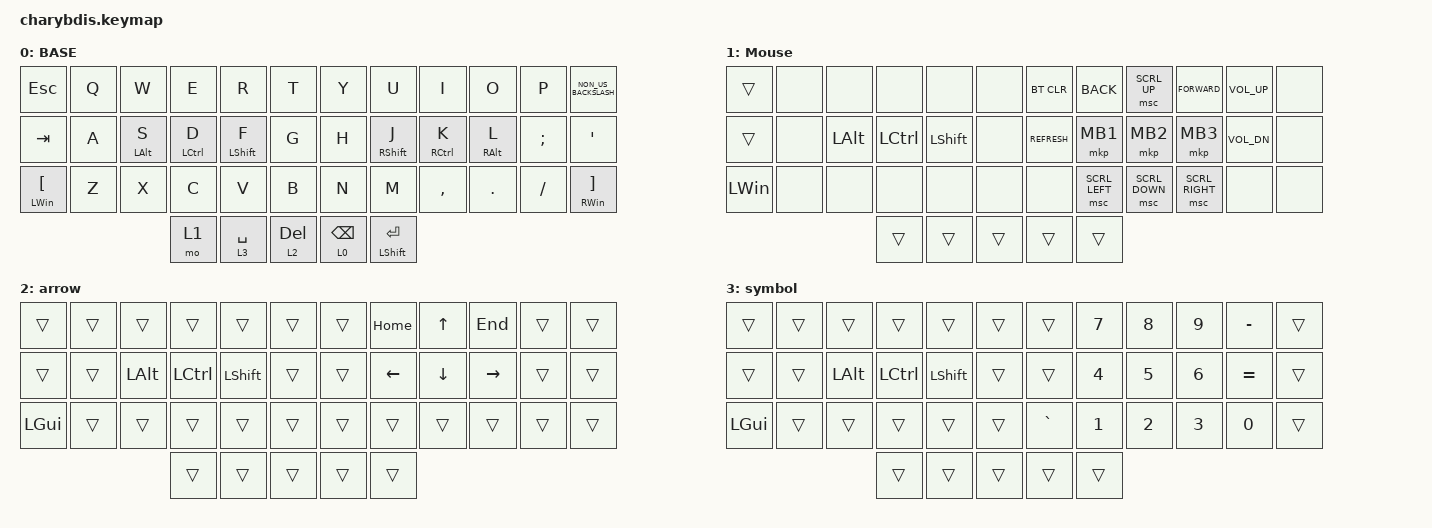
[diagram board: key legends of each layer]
#include <behaviors.dtsi>
#include <dt-bindings/zmk/keys.h>
#define ZMK_POINTING_DEFAULT_SCRL_VAL 15
#include <dt-bindings/zmk/pointing.h>
#include <dt-bindings/zmk/bt.h>
#include "macros.dtsi"
#include "behaviors.dtsi"
#include "combos.dtsi"

&msc {
    delay-ms = <0>;
    time-to-max-speed-ms = <0>;
    acceleration-exponent = <0>;
};

/ {
    // ╭──────┬──────┬──────┬──────┬──────┬──────╮  ╭──────┬──────┬──────┬──────┬──────┬──────╮
    //    00     01     02     03    04      05        06     07     08     09     10     11
    // ├──────┼──────┼──────┼──────┼──────┼──────┤  ├──────┼──────┼──────┼──────┼──────┼──────┤
    //    12     13     14     15    16      17        18     19     20     21     22     23
    // ├──────┼──────┼──────┼──────┼──────┼──────┤  ├──────┼──────┼──────┼──────┼──────┼──────┤
    //    24     25     26     27    28      29        30     31     32     33     34     35
    // ╰──────┴──────┴──────┼──────┼──────┼──────┤  ├──────┼──────┼──────┴──────┴──────┴──────╯
    //                         36     37     38        39     40
    //                      ╰──────┴──────┴──────╯  ╰──────┴──────╯

    keymap {
        compatible = "zmk,keymap";

        BASE {
            bindings = <
&kp ESCAPE                 &kp Q  &kp W           &kp E               &kp R             &kp T           &kp Y            &kp U                 &kp I                &kp O            &kp P          &kp NON_US_BACKSLASH
&kp TAB                    &kp A  &hm LEFT_ALT S  &hm LEFT_CONTROL D  &hm LEFT_SHIFT F  &kp G           &kp H            &hm RIGHT_SHIFT J     &hm RIGHT_CONTROL K  &hm RIGHT_ALT L  &kp SEMICOLON  &kp SQT
&hm LEFT_WIN LEFT_BRACKET  &kp Z  &kp X           &kp C               &kp V             &kp B           &kp N            &kp M                 &kp COMMA            &kp PERIOD       &kp SLASH      &hm RIGHT_WIN RIGHT_BRACKET
                                                  &mo 1               &lt 3 SPACE       &lt 2 DELETE    &lt 0 BACKSPACE  &mt LEFT_SHIFT ENTER
            >;
        };

        Mouse {
            bindings = <
&trans        &none  &none         &none             &none           &none     &bt BT_CLR     &kp K_BACK      &msc SCRL_UP    &kp K_FORWARD    &kp C_VOL_UP  &none
&trans        &none  &kp LEFT_ALT  &kp LEFT_CONTROL  &kp LEFT_SHIFT  &none     &kp K_REFRESH  &mkp MB1        &mkp MB2        &mkp MB3         &kp C_VOL_DN  &none
&kp LEFT_WIN  &none  &none         &none             &none           &none     &none          &msc SCRL_LEFT  &msc SCRL_DOWN  &msc SCRL_RIGHT  &none         &none
                                   &trans            &trans          &trans    &trans         &trans
            >;
        };

        arrow {
            bindings = <
&trans    &trans  &trans    &trans     &trans     &trans    &trans  &kp HOME  &kp UP    &kp END    &trans  &trans
&trans    &trans  &kp LALT  &kp LCTRL  &kp LSHFT  &trans    &trans  &kp LEFT  &kp DOWN  &kp RIGHT  &trans  &trans
&kp LGUI  &trans  &trans    &trans     &trans     &trans    &trans  &trans    &trans    &trans     &trans  &trans
                            &trans     &trans     &trans    &trans  &trans
            >;
        };

        symbol {
            bindings = <
&trans    &trans  &trans    &trans     &trans     &trans    &trans     &kp N7  &kp N8  &kp N9  &kp MINUS  &trans
&trans    &trans  &kp LALT  &kp LCTRL  &kp LSHFT  &trans    &trans     &kp N4  &kp N5  &kp N6  &kp EQUAL  &trans
&kp LGUI  &trans  &trans    &trans     &trans     &trans    &kp GRAVE  &kp N1  &kp N2  &kp N3  &kp N0     &trans
                            &trans     &trans     &trans    &trans     &trans
            >;
        };
    };
};
